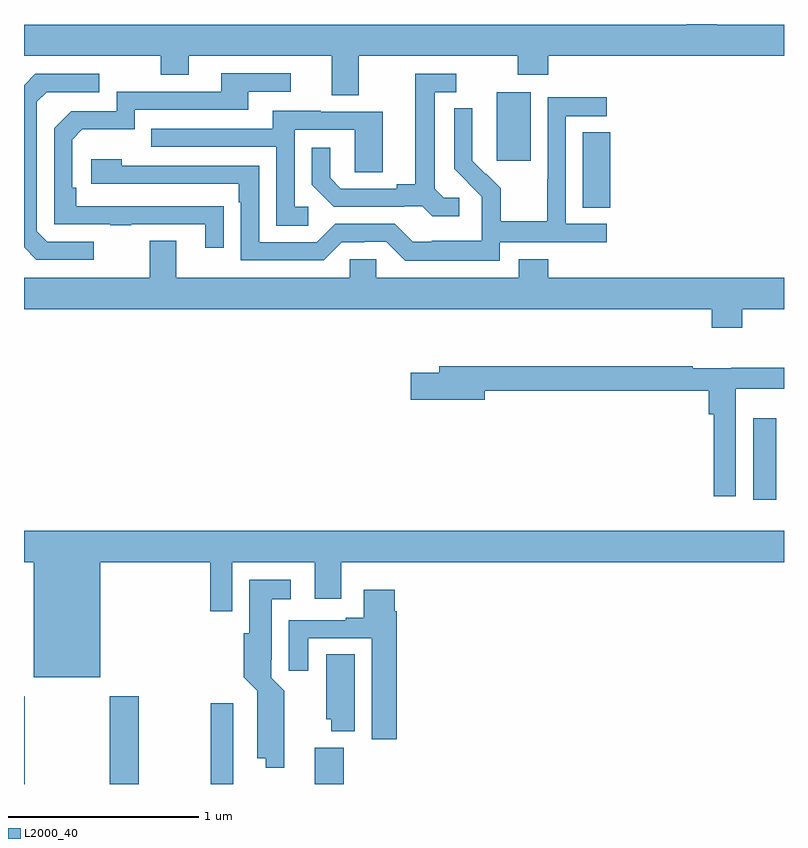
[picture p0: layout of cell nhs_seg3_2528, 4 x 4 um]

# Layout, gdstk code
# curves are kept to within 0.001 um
import gdstk
lib = gdstk.Library(unit=1e-6, precision=1e-09)
def R(c, l, rs):  # rectangles x0, y0, x1, y1
    for r in rs: c.add(gdstk.rectangle(r[:2], r[2:], *l))
def P(c, l, *ps):  # polygons
    for p in ps: c.add(gdstk.Polygon(p, *l))
L2000_40 = (2000, 40)

nhs_seg3_2528 = lib.new_cell('nhs_seg3_2528')
R(nhs_seg3_2528, L2000_40, [(241,714.4,241.005,714.862), (241.45,714.4,241.605,714.862), (241.984,714.4,242.101,714.826), (242.531,714.4,242.684,714.592), (244.838,715.896,244.96,716.326), (243.941,717.433,244.085,717.83), (243.488,717.681,243.667,718.042)])
P(nhs_seg3_2528, L2000_40, [(242.761,718.232),(243.598,718.232),(243.598,718.133),(243.758,718.133),(243.758,718.232),(245,718.232),(245,718.396),(244.647,718.396),(244.647,718.4),(244.487,718.4),(244.487,718.396),(241,718.396),(241,718.232),(241.72,718.232),(241.72,718.133),(241.867,718.133),(241.867,718.232),(242.621,718.232),(242.621,718.024),(242.761,718.024)],
  [(242.051,717.44),(241.274,717.441),(241.274,717.538),(241.254,717.538),(241.254,717.792),(241.307,717.845),(241.584,717.845),(241.584,717.948),(242.179,717.948),(242.179,718.044),(242.404,718.044),(242.404,718.14),(242.039,718.14),(242.039,718.044),(241.488,718.044),(241.488,717.942),(241.248,717.942),(241.158,717.852),(241.158,717.345),(241.453,717.345),(241.453,717.34),(241.565,717.34),(241.565,717.345),(241.955,717.345),(241.955,717.222),(242.051,717.222)],
  [(243.292,717.486),(243.21,717.486),(243.163,717.533),(243.163,718.041),(243.274,718.041),(243.274,718.137),(243.059,718.137),(243.059,717.557),(242.963,717.557),(242.963,717.534),(242.668,717.534),(242.611,717.591),(242.611,717.748),(242.514,717.748),(242.514,717.554),(242.63,717.438),(243.002,717.438),(243.002,717.441),(243.096,717.441),(243.148,717.389),(243.292,717.389)],
  [(241.366,717.255),(241.122,717.255),(241.068,717.309),(241.068,717.99),(241.119,718.041),(241.396,718.041),(241.396,718.137),(241.059,718.137),(241,718.078),(241,717.225),(241.065,717.159),(241.366,717.159)],
  [(243.504,717.252),(244.066,717.252),(244.066,717.348),(243.852,717.348),(243.852,717.915),(244.066,717.915),(244.066,718.014),(243.756,718.014),(243.756,717.584),(243.754,717.584),(243.754,717.361),(243.509,717.361),(243.509,717.535),(243.432,717.612),(243.429,717.609),(243.359,717.68),(243.36,717.956),(243.264,717.956),(243.264,717.638),(243.41,717.49),(243.41,717.393),(243.408,717.393),(243.408,717.259),(243.145,717.259),(243.145,717.255),(243.045,717.255),(242.952,717.348),(242.637,717.348),(242.541,717.252),(242.238,717.252),(242.238,717.654),(241.514,717.654),(241.514,717.688),(241.353,717.688),(241.353,717.558),(242.129,717.558),(242.129,717.461),(242.142,717.461),(242.142,717.156),(242.577,717.156),(242.673,717.252),(242.792,717.252),(242.792,717.255),(242.907,717.255),(243.007,717.155),(243.504,717.155)],
  [(242.497,717.438),(242.424,717.438),(242.424,717.843),(242.742,717.843),(242.742,717.619),(242.887,717.619),(242.887,717.939),(242.563,717.939),(242.563,717.943),(242.309,717.943),(242.309,717.849),(241.669,717.849),(241.669,717.753),(242.328,717.753),(242.328,717.337),(242.497,717.337)],
  [(244.779,716.9),(245,716.9),(245,717.064),(243.758,717.064),(243.758,717.163),(243.605,717.163),(243.605,717.064),(242.853,717.064),(242.853,717.162),(242.715,717.162),(242.715,717.064),(241.801,717.064),(241.801,717.259),(241.661,717.259),(241.661,717.064),(241,717.064),(241,716.9),(244.619,716.9),(244.619,716.801),(244.779,716.801)],
  [(244.746,716.48),(244.956,716.48),(244.956,716.481),(245,716.481),(245,716.59),(244.722,716.59),(244.722,716.588),(244.52,716.588),(244.52,716.599),(243.185,716.599),(243.185,716.565),(243.036,716.565),(243.036,716.423),(243.424,716.423),(243.424,716.47),(244.604,716.47),(244.604,716.345),(244.63,716.345),(244.63,715.914),(244.746,715.914)],
  [(241.402,715.568),(241.981,715.568),(241.981,715.308),(242.097,715.308),(242.097,715.568),(242.531,715.568),(242.531,715.374),(242.671,715.374),(242.671,715.568),(245,715.568),(245,715.732),(241,715.732),(241,715.568),(241.052,715.568),(241.052,714.962),(241.402,714.962)],
  [(242.37,714.788),(242.371,714.89),(242.301,714.96),(242.301,715.054),(242.305,715.054),(242.305,715.373),(242.404,715.373),(242.404,715.474),(242.186,715.474),(242.186,715.194),(242.156,715.194),(242.156,714.962),(242.228,714.89),(242.228,714.536),(242.273,714.536),(242.273,714.485),(242.37,714.485)],
  [(242.963,715.31),(242.95,715.31),(242.95,715.423),(242.789,715.423),(242.789,715.276),(242.693,715.276),(242.693,715.263),(242.393,715.263),(242.393,714.996),(242.497,714.996),(242.497,715.167),(242.831,715.167),(242.831,714.636),(242.963,714.636)],
  [(242.74,715.082),(242.591,715.082),(242.591,714.741),(242.618,714.741),(242.618,714.677),(242.74,714.677)])

lib.write_gds('nhs_seg3_2528.gds')
